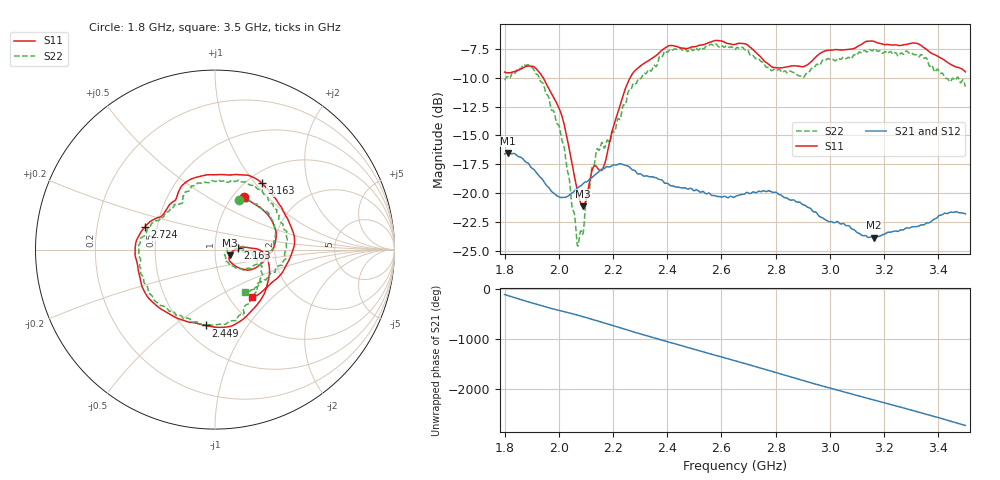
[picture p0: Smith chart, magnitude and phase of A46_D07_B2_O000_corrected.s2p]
! Created with skrf 1.9.0 (http://scikit-rf.org).
# Hz S RI R 50.0
!freq ReS11 ImS11 ReS21 ImS21 ReS12 ImS12 ReS22 ImS22
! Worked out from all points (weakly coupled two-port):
!   1601 points, 1.8 GHz to 3.5 GHz, reference 50 ohm
!   highest |S21| = -16.51 dB at 1.812 GHz (marker M1); lowest = -23.8 dB at 3.163 GHz (marker M2)
!   lowest |S11| = -21.1 dB at 2.09 GHz (marker M3), VSWR 1.19, Z = 58.8 - j3.77 ohm
!   |S11| at or under -10 dB: 1.942 GHz to 2.263 GHz (320.8 MHz wide, 15.3 % of centre)
!   |S22| runs from -24.6 to -7.1 dB; largest |S21 - S12| = 0.0027
!   S11 on the Smith chart (normalised r, x): 1.8 GHz: 1.12, +0.74; 2.163 GHz: 1.29, +0.02; 2.449 GHz: 0.64, -0.66; 2.724 GHz: 0.43, +0.13; 3.163 GHz: 1.16, +1.08; 3.5 GHz: 1.27, -0.76
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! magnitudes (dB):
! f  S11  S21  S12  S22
! 1.8 GHz  -9.5  -16.6  -16.6  -10.2
! 1.812 GHz  -9.6  -16.5  -16.5  -9.9
! 1.882 GHz  -9.0  -17.3  -17.4  -8.9
! 1.941 GHz  -10.0  -18.9  -18.9  -10.5
! 2.011 GHz  -13.3  -20.4  -20.4  -15.4
! 2.067 GHz  -19.6  -19.6  -19.6  -24.2
! 2.084 GHz  -21.0  -19.3  -19.3  -23.3
! 2.09 GHz  -21.1  -19.2  -19.2  -23.4
! 2.128 GHz  -17.7  -18.5  -18.5  -17.7
! 2.163 GHz  -17.8  -17.9  -17.8  -15.8
! 2.191 GHz  -15.2  -17.7  -17.7  -15.3
! 2.26 GHz  -10.1  -17.7  -17.7  -11.1
! 2.367 GHz  -7.9  -18.8  -18.7  -8.4
! 2.449 GHz  -7.4  -19.5  -19.5  -7.5
! 2.65 GHz  -7.1  -20.3  -20.3  -7.6
! 2.724 GHz  -7.7  -20.0  -19.9  -8.3
! 2.797 GHz  -9.1  -19.9  -19.9  -9.3
! 2.934 GHz  -8.6  -21.5  -21.4  -9.2
! 3.163 GHz  -6.9  -23.8  -23.8  -7.5
! 3.217 GHz  -7.1  -23.4  -23.4  -7.8
! 3.324 GHz  -7.0  -22.9  -22.8  -8.1
! 3.5 GHz  -9.5  -21.8  -21.8  -10.8
